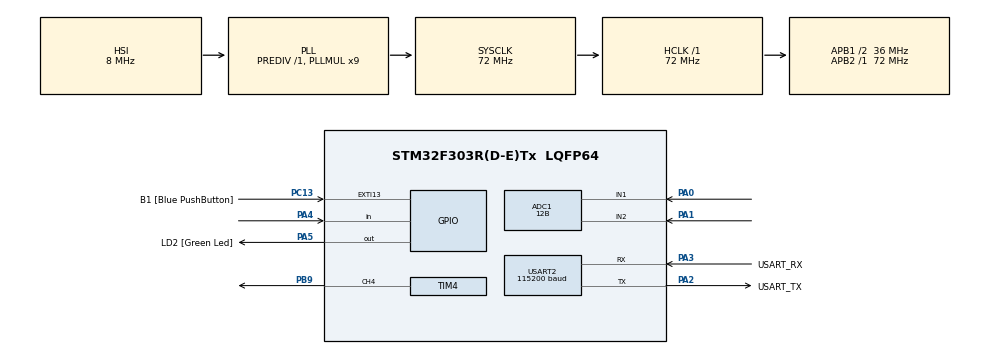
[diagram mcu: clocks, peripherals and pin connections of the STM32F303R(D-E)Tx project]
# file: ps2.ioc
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ADC1.Channel-0\#ChannelRegularConversion=ADC_CHANNEL_1
ADC1.Channel-1\#ChannelRegularConversion=ADC_CHANNEL_2
ADC1.ClockPrescaler=ADC_CLOCK_ASYNC_DIV1
ADC1.ContinuousConvMode=DISABLE
ADC1.DMAContinuousRequests=DISABLE
ADC1.DataAlign=ADC_DATAALIGN_RIGHT
ADC1.DiscontinuousConvMode=ENABLE
ADC1.EOCSelection=ADC_EOC_SINGLE_CONV
ADC1.EnableAnalogWatchDog1=false
ADC1.EnableAnalogWatchDog2=false
ADC1.EnableAnalogWatchDog3=false
ADC1.EnableInjectedConversion=ENABLE
ADC1.EnableRegularConversion=ENABLE
ADC1.ExternalTrigConv=ADC_SOFTWARE_START
ADC1.ExternalTrigConvEdge=ADC_EXTERNALTRIGCONVEDGE_NONE
ADC1.InjNumberOfConversion=0
ADC1.LowPowerAutoWait=DISABLE
ADC1.NbrOfConversion=2
ADC1.NbrOfConversionFlag=1
ADC1.NbrOfDiscConversion=1
ADC1.Offset-0\#ChannelRegularConversion=0
ADC1.Offset-1\#ChannelRegularConversion=0
ADC1.OffsetNumber-0\#ChannelRegularConversion=ADC_OFFSET_NONE
ADC1.OffsetNumber-1\#ChannelRegularConversion=ADC_OFFSET_NONE
ADC1.Overrun=ADC_OVR_DATA_OVERWRITTEN
ADC1.Rank-0\#ChannelRegularConversion=1
ADC1.Rank-1\#ChannelRegularConversion=2
ADC1.Resolution=ADC_RESOLUTION_12B
ADC1.SamplingTime-0\#ChannelRegularConversion=ADC_SAMPLETIME_19CYCLES_5
ADC1.SamplingTime-1\#ChannelRegularConversion=ADC_SAMPLETIME_19CYCLES_5
ADC1.ScanConvMode=ADC_SCAN_ENABLE
ADC1.master=1
Mcu.Family=STM32F3
Mcu.Name=STM32F303R(D-E)Tx
Mcu.Package=LQFP64
NVIC.PriorityGroup=NVIC_PRIORITYGROUP_0
PA0.Mode=IN1-Single-Ended
PA0.Signal=ADC1_IN1
PA1.Mode=IN2-Single-Ended
PA1.Signal=ADC1_IN2
PA13.GPIO_Label=TMS
PA13.Mode=Serial_Wire
PA13.Signal=SYS_JTMS-SWDIO
PA14.GPIO_Label=TCK
PA14.Mode=Serial_Wire
PA14.Signal=SYS_JTCK-SWCLK
PA2.GPIO_Label=USART_TX
PA2.GPIO_Mode=GPIO_MODE_AF_PP
PA2.GPIO_PuPd=GPIO_NOPULL
PA2.GPIO_Speed=GPIO_SPEED_FREQ_LOW
PA2.Mode=Asynchronous
PA2.Signal=USART2_TX
PA3.GPIO_Label=USART_RX
PA3.GPIO_Mode=GPIO_MODE_AF_PP
PA3.GPIO_PuPd=GPIO_NOPULL
PA3.GPIO_Speed=GPIO_SPEED_FREQ_LOW
PA3.Mode=Asynchronous
PA3.Signal=USART2_RX
PA4.GPIO_PuPd=GPIO_PULLUP
PA4.Signal=GPIO_Input
PA5.GPIO_Label=LD2 [Green Led]
PA5.GPIO_Mode=GPIO_MODE_OUTPUT_PP
PA5.GPIO_PuPd=GPIO_NOPULL
PA5.GPIO_Speed=GPIO_SPEED_FREQ_LOW
PA5.Signal=GPIO_Output
PB3.GPIO_Label=SWO
PB3.Signal=SYS_JTDO-TRACESWO
PB9.Signal=S_TIM4_CH4
PC13.GPIO_Label=B1 [Blue PushButton]
PC13.GPIO_ModeDefaultEXTI=GPIO_MODE_IT_FALLING
PC13.Signal=GPXTI13
PC14-OSC32_IN.Mode=LSE-External-Oscillator
PC14-OSC32_IN.Signal=RCC_OSC32_IN
PC15-OSC32_OUT.Mode=LSE-External-Oscillator
PC15-OSC32_OUT.Signal=RCC_OSC32_OUT
PF0-OSC_IN.Mode=HSE-External-Clock-Source
PF0-OSC_IN.Signal=RCC_OSC_IN
PF1-OSC_OUT.Signal=RCC_OSC_OUT
ProjectManager.HeapSize=0x200
ProjectManager.StackSize=0x400
ProjectManager.TargetToolchain=TrueSTUDIO
RCC.AHBFreq_Value=72000000
RCC.APB1CLKDivider=RCC_HCLK_DIV2
RCC.APB1Freq_Value=36000000
RCC.APB1TimFreq_Value=72000000
RCC.APB2Freq_Value=72000000
RCC.APB2TimFreq_Value=72000000
RCC.CortexFreq_Value=72000000
RCC.HCLKFreq_Value=72000000
RCC.HSE_VALUE=8000000
RCC.HSI_VALUE=8000000
RCC.PLLM=8
RCC.PLLMUL=RCC_PLL_MUL9
RCC.PLLN=336
RCC.PLLP=RCC_PLLP_DIV4
RCC.PLLQ=7
RCC.RCC_PLLsource_Clock_Source_FROM_HSE=RCC_HSE_PREDIV_DIV2
RCC.SYSCLKFreq_VALUE=72000000
RCC.SYSCLKSourceVirtual=RCC_SYSCLKSOURCE_PLLCLK
RCC.USBFreq_Value=72000000
SH.S_TIM4_CH4.0=TIM4_CH4,PWM Generation4 CH4
TIM4.Channel-PWM\ Generation4\ CH4=TIM_CHANNEL_4
TIM4.Period=19999
TIM4.Prescaler=71
TIM4.Pulse-PWM\ Generation4\ CH4=1500
USART2.BaudRate=115200
USART2.VirtualMode-Asynchronous=VM_ASYNC
USART2.WordLength=WORDLENGTH_8B
VP_TIM4_VS_ClockSourceINT.Mode=Internal
board=NUCLEO-F303RE

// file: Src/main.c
/**
  ******************************************************************************
  * @file           : main.c
  * @brief          : Main program body
  ******************************************************************************
  ** This notice applies to any and all portions of this file
  * that are not between comment pairs USER CODE BEGIN and
  * USER CODE END. Other portions of this file, whether
  * inserted by the user or by software development tools
  * are owned by their respective copyright owners.
  *
  * COPYRIGHT(c) 2026 STMicroelectronics
  *
  * Redistribution and use in source and binary forms, with or without modification,
  * are permitted provided that the following conditions are met:
  *   1. Redistributions of source code must retain the above copyright notice,
  *      this list of conditions and the following disclaimer.
  *   2. Redistributions in binary form must reproduce the above copyright notice,
  *      this list of conditions and the following disclaimer in the documentation
  *      and/or other materials provided with the distribution.
  *   3. Neither the name of STMicroelectronics nor the names of its contributors
  *      may be used to endorse or promote products derived from this software
  *      without specific prior written permission.
  *
  * THIS SOFTWARE IS PROVIDED BY THE COPYRIGHT HOLDERS AND CONTRIBUTORS "AS IS"
  * AND ANY EXPRESS OR IMPLIED WARRANTIES, INCLUDING, BUT NOT LIMITED TO, THE
  * IMPLIED WARRANTIES OF MERCHANTABILITY AND FITNESS FOR A PARTICULAR PURPOSE ARE
  * DISCLAIMED. IN NO EVENT SHALL THE COPYRIGHT HOLDER OR CONTRIBUTORS BE LIABLE
  * FOR ANY DIRECT, INDIRECT, INCIDENTAL, SPECIAL, EXEMPLARY, OR CONSEQUENTIAL
  * DAMAGES (INCLUDING, BUT NOT LIMITED TO, PROCUREMENT OF SUBSTITUTE GOODS OR
  * SERVICES; LOSS OF USE, DATA, OR PROFITS; OR BUSINESS INTERRUPTION) HOWEVER
  * CAUSED AND ON ANY THEORY OF LIABILITY, WHETHER IN CONTRACT, STRICT LIABILITY,
  * OR TORT (INCLUDING NEGLIGENCE OR OTHERWISE) ARISING IN ANY WAY OUT OF THE USE
  * OF THIS SOFTWARE, EVEN IF ADVISED OF THE POSSIBILITY OF SUCH DAMAGE.
  *
  ******************************************************************************
  */
#include "main.h"
#include "stm32f3xx_hal.h"
#include <stdio.h>
#include <string.h>
#include <stdlib.h>

ADC_HandleTypeDef hadc1;

TIM_HandleTypeDef htim4;

UART_HandleTypeDef huart2;

/* USER CODE BEGIN PV */
/* Private variables ---------------------------------------------------------*/
uint16_t adc_val[2]; // 儲存 X 與 Y 數值
char uart_buf[64];   // UART 輸出字串緩衝區
uint8_t  btn_z;
uint32_t servo_pulse;   // 存放計算後的 PWM 脈衝寬度
/* USER CODE END PV */

void SystemClock_Config(void);
static void MX_GPIO_Init(void);
static void MX_USART2_UART_Init(void);
static void MX_ADC1_Init(void);
static void MX_TIM4_Init(void);

void HAL_TIM_MspPostInit(TIM_HandleTypeDef *htim);

/* USER CODE BEGIN PFP */
/* Private function prototypes -----------------------------------------------*/

/* USER CODE END PFP */

int main(void)
{

  /* MCU Configuration----------------------------------------------------------*/

  /* Reset of all peripherals, Initializes the Flash interface and the Systick. */
  HAL_Init();

  /* Configure the system clock */
  SystemClock_Config();

  /* Initialize all configured peripherals */
  MX_GPIO_Init();
  MX_USART2_UART_Init();
  MX_ADC1_Init();
  MX_TIM4_Init();
  /* USER CODE BEGIN 2 */
  HAL_ADCEx_Calibration_Start(&hadc1, ADC_SINGLE_ENDED);

  HAL_TIM_PWM_Start(&htim4, TIM_CHANNEL_4); // 改為啟動 TIM4
  uint32_t servo_pulse;
  /* USER CODE END 2 */

  /* Infinite loop */
  while (1)
  {

  /* USER CODE BEGIN 3 */
	  // --- 讀取第一通道 (Rank 1: VRX) ---
	      HAL_ADC_Start(&hadc1);
	      HAL_ADC_PollForConversion(&hadc1, 10);
	      adc_val[0] = HAL_ADC_GetValue(&hadc1); // X 軸數值

	      // --- 讀取第二通道 (Rank 2: VRY) ---
	      HAL_ADC_Start(&hadc1);
	      HAL_ADC_PollForConversion(&hadc1, 10);
	      adc_val[1] = HAL_ADC_GetValue(&hadc1); // Y 軸數值

	      HAL_ADC_Stop(&hadc1);

	      // --- 讀取 Z 軸按鍵 (PA4) ---
	      btn_z = HAL_GPIO_ReadPin(GPIOA, GPIO_PIN_4);

	      // --- 伺服馬達控制 (使用 X 軸 adc_val[0]) ---
	      // 公式：500 (0.5ms) 為 0 度，2500 (2.5ms) 為 180 度
	      // 映射範圍：0~4095 -> 500~2500
	      int32_t offset_x = (int32_t)adc_val[0] - 2048; // 範圍約 -2048 ~ 2047
	      int32_t offset_y = (int32_t)adc_val[1] - 2048;

	      // 取絕對值較大者作為控制量
	      int32_t max_offset = 0;

	      if (abs(offset_x) > abs(offset_y)) {
	           max_offset = offset_x;
	       } else {
	           max_offset = offset_y;
	       }
	      if (abs(max_offset) < 50) max_offset = 0; // 忽略微小偏移
	      servo_pulse = 1500 + (max_offset * 1000 / 2048);

//	      uint32_t servo_pulse = 500 + ((uint32_t)adc_val[0] * 2000 / 4095);

	      // 更新 PWM 輸出至 PB8 (TIM4 Channel 3)
	      __HAL_TIM_SET_COMPARE(&htim4, TIM_CHANNEL_4, servo_pulse);

	      // --- 格式化字串並透過 UART 輸出 ---
	      // 加入 PWM 數值方便除錯
	      sprintf(uart_buf, "X: %4d | Y: %4d | Z: %d | PWM: %ld\r\n",
	              adc_val[0], adc_val[1], btn_z, servo_pulse);
	      HAL_UART_Transmit(&huart2, (uint8_t*)uart_buf, strlen(uart_buf), 100);

	      // --- 延遲 ---
	      // 建議 20ms 以符合伺服馬達 50Hz 更新率，若 UART 輸出太頻繁可調高
	      HAL_Delay(20);
  }
  /* USER CODE END 3 */

}

void SystemClock_Config(void)
{

  RCC_OscInitTypeDef RCC_OscInitStruct;
  RCC_ClkInitTypeDef RCC_ClkInitStruct;
  RCC_PeriphCLKInitTypeDef PeriphClkInit;

    /**Initializes the CPU, AHB and APB busses clocks
    */
  RCC_OscInitStruct.OscillatorType = RCC_OSCILLATORTYPE_HSI;
  RCC_OscInitStruct.HSIState = RCC_HSI_ON;
  RCC_OscInitStruct.HSICalibrationValue = 16;
  RCC_OscInitStruct.PLL.PLLState = RCC_PLL_ON;
  RCC_OscInitStruct.PLL.PLLSource = RCC_PLLSOURCE_HSI;
  RCC_OscInitStruct.PLL.PLLMUL = RCC_PLL_MUL9;
  RCC_OscInitStruct.PLL.PREDIV = RCC_PREDIV_DIV1;
  if (HAL_RCC_OscConfig(&RCC_OscInitStruct) != HAL_OK)
  {
    _Error_Handler(__FILE__, __LINE__);
  }

    /**Initializes the CPU, AHB and APB busses clocks
    */
  RCC_ClkInitStruct.ClockType = RCC_CLOCKTYPE_HCLK|RCC_CLOCKTYPE_SYSCLK
                              |RCC_CLOCKTYPE_PCLK1|RCC_CLOCKTYPE_PCLK2;
  RCC_ClkInitStruct.SYSCLKSource = RCC_SYSCLKSOURCE_PLLCLK;
  RCC_ClkInitStruct.AHBCLKDivider = RCC_SYSCLK_DIV1;
  RCC_ClkInitStruct.APB1CLKDivider = RCC_HCLK_DIV2;
  RCC_ClkInitStruct.APB2CLKDivider = RCC_HCLK_DIV1;

  if (HAL_RCC_ClockConfig(&RCC_ClkInitStruct, FLASH_LATENCY_2) != HAL_OK)
  {
    _Error_Handler(__FILE__, __LINE__);
  }

  PeriphClkInit.PeriphClockSelection = RCC_PERIPHCLK_USART2|RCC_PERIPHCLK_ADC12
                              |RCC_PERIPHCLK_TIM34;
  PeriphClkInit.Usart2ClockSelection = RCC_USART2CLKSOURCE_PCLK1;
  PeriphClkInit.Adc12ClockSelection = RCC_ADC12PLLCLK_DIV1;
  PeriphClkInit.Tim34ClockSelection = RCC_TIM34CLK_HCLK;
  if (HAL_RCCEx_PeriphCLKConfig(&PeriphClkInit) != HAL_OK)
  {
    _Error_Handler(__FILE__, __LINE__);
  }

    /**Configure the Systick interrupt time
    */
  HAL_SYSTICK_Config(HAL_RCC_GetHCLKFreq()/1000);

    /**Configure the Systick
    */
  HAL_SYSTICK_CLKSourceConfig(SYSTICK_CLKSOURCE_HCLK);

  /* SysTick_IRQn interrupt configuration */
  HAL_NVIC_SetPriority(SysTick_IRQn, 0, 0);
}

/* ADC1 init function */
static void MX_ADC1_Init(void)
{

  ADC_MultiModeTypeDef multimode;
  ADC_ChannelConfTypeDef sConfig;

    /**Common config
    */
  hadc1.Instance = ADC1;
  hadc1.Init.ClockPrescaler = ADC_CLOCK_ASYNC_DIV1;
  hadc1.Init.Resolution = ADC_RESOLUTION_12B;
  hadc1.Init.ScanConvMode = ADC_SCAN_ENABLE;
  hadc1.Init.ContinuousConvMode = DISABLE;
  hadc1.Init.DiscontinuousConvMode = ENABLE;
  hadc1.Init.NbrOfDiscConversion = 1;
  hadc1.Init.ExternalTrigConvEdge = ADC_EXTERNALTRIGCONVEDGE_NONE;
  hadc1.Init.ExternalTrigConv = ADC_SOFTWARE_START;
  hadc1.Init.DataAlign = ADC_DATAALIGN_RIGHT;
  hadc1.Init.NbrOfConversion = 2;
  hadc1.Init.DMAContinuousRequests = DISABLE;
  hadc1.Init.EOCSelection = ADC_EOC_SINGLE_CONV;
  hadc1.Init.LowPowerAutoWait = DISABLE;
  hadc1.Init.Overrun = ADC_OVR_DATA_OVERWRITTEN;
  if (HAL_ADC_Init(&hadc1) != HAL_OK)
  {
    _Error_Handler(__FILE__, __LINE__);
  }

    /**Configure the ADC multi-mode
    */
  multimode.Mode = ADC_MODE_INDEPENDENT;
  if (HAL_ADCEx_MultiModeConfigChannel(&hadc1, &multimode) != HAL_OK)
  {
    _Error_Handler(__FILE__, __LINE__);
  }

    /**Configure Regular Channel
    */
  sConfig.Channel = ADC_CHANNEL_1;
  sConfig.Rank = ADC_REGULAR_RANK_1;
  sConfig.SingleDiff = ADC_SINGLE_ENDED;
  sConfig.SamplingTime = ADC_SAMPLETIME_19CYCLES_5;
  sConfig.OffsetNumber = ADC_OFFSET_NONE;
  sConfig.Offset = 0;
  if (HAL_ADC_ConfigChannel(&hadc1, &sConfig) != HAL_OK)
  {
    _Error_Handler(__FILE__, __LINE__);
  }

    /**Configure Regular Channel
    */
  sConfig.Channel = ADC_CHANNEL_2;
  sConfig.Rank = ADC_REGULAR_RANK_2;
  if (HAL_ADC_ConfigChannel(&hadc1, &sConfig) != HAL_OK)
  {
    _Error_Handler(__FILE__, __LINE__);
  }

}

/* TIM4 init function */
static void MX_TIM4_Init(void)
{

  TIM_ClockConfigTypeDef sClockSourceConfig;
  TIM_MasterConfigTypeDef sMasterConfig;
  TIM_OC_InitTypeDef sConfigOC;

  htim4.Instance = TIM4;
  htim4.Init.Prescaler = 71;
  htim4.Init.CounterMode = TIM_COUNTERMODE_UP;
  htim4.Init.Period = 19999;
  htim4.Init.ClockDivision = TIM_CLOCKDIVISION_DIV1;
  htim4.Init.AutoReloadPreload = TIM_AUTORELOAD_PRELOAD_DISABLE;
  if (HAL_TIM_Base_Init(&htim4) != HAL_OK)
  {
    _Error_Handler(__FILE__, __LINE__);
  }

  sClockSourceConfig.ClockSource = TIM_CLOCKSOURCE_INTERNAL;
  if (HAL_TIM_ConfigClockSource(&htim4, &sClockSourceConfig) != HAL_OK)
  {
    _Error_Handler(__FILE__, __LINE__);
  }

  if (HAL_TIM_PWM_Init(&htim4) != HAL_OK)
  {
    _Error_Handler(__FILE__, __LINE__);
  }

  sMasterConfig.MasterOutputTrigger = TIM_TRGO_RESET;
  sMasterConfig.MasterSlaveMode = TIM_MASTERSLAVEMODE_DISABLE;
  if (HAL_TIMEx_MasterConfigSynchronization(&htim4, &sMasterConfig) != HAL_OK)
  {
    _Error_Handler(__FILE__, __LINE__);
  }

  sConfigOC.OCMode = TIM_OCMODE_PWM1;
  sConfigOC.Pulse = 1500;
  sConfigOC.OCPolarity = TIM_OCPOLARITY_HIGH;
  sConfigOC.OCFastMode = TIM_OCFAST_DISABLE;
  if (HAL_TIM_PWM_ConfigChannel(&htim4, &sConfigOC, TIM_CHANNEL_4) != HAL_OK)
  {
    _Error_Handler(__FILE__, __LINE__);
  }

  HAL_TIM_MspPostInit(&htim4);

}

/* USART2 init function */
static void MX_USART2_UART_Init(void)
{

  huart2.Instance = USART2;
  huart2.Init.BaudRate = 115200;
  huart2.Init.WordLength = UART_WORDLENGTH_8B;
  huart2.Init.StopBits = UART_STOPBITS_1;
  huart2.Init.Parity = UART_PARITY_NONE;
  huart2.Init.Mode = UART_MODE_TX_RX;
  huart2.Init.HwFlowCtl = UART_HWCONTROL_NONE;
  huart2.Init.OverSampling = UART_OVERSAMPLING_16;
  huart2.Init.OneBitSampling = UART_ONE_BIT_SAMPLE_DISABLE;
  huart2.AdvancedInit.AdvFeatureInit = UART_ADVFEATURE_NO_INIT;
  if (HAL_UART_Init(&huart2) != HAL_OK)
  {
    _Error_Handler(__FILE__, __LINE__);
  }

}

/** Configure pins as
        * Analog
        * Input
        * Output
        * EVENT_OUT
        * EXTI
*/
static void MX_GPIO_Init(void)
{

  GPIO_InitTypeDef GPIO_InitStruct;

  /* GPIO Ports Clock Enable */
  __HAL_RCC_GPIOC_CLK_ENABLE();
  __HAL_RCC_GPIOF_CLK_ENABLE();
  __HAL_RCC_GPIOA_CLK_ENABLE();
  __HAL_RCC_GPIOB_CLK_ENABLE();

  /*Configure GPIO pin Output Level */
  HAL_GPIO_WritePin(LD2_GPIO_Port, LD2_Pin, GPIO_PIN_RESET);

  /*Configure GPIO pin : B1_Pin */
  GPIO_InitStruct.Pin = B1_Pin;
  GPIO_InitStruct.Mode = GPIO_MODE_IT_FALLING;
  GPIO_InitStruct.Pull = GPIO_NOPULL;
  HAL_GPIO_Init(B1_GPIO_Port, &GPIO_InitStruct);

  /*Configure GPIO pin : PA4 */
  GPIO_InitStruct.Pin = GPIO_PIN_4;
  GPIO_InitStruct.Mode = GPIO_MODE_INPUT;
  GPIO_InitStruct.Pull = GPIO_PULLUP;
  HAL_GPIO_Init(GPIOA, &GPIO_InitStruct);

  /*Configure GPIO pin : LD2_Pin */
  GPIO_InitStruct.Pin = LD2_Pin;
  GPIO_InitStruct.Mode = GPIO_MODE_OUTPUT_PP;
  GPIO_InitStruct.Pull = GPIO_NOPULL;
  GPIO_InitStruct.Speed = GPIO_SPEED_FREQ_LOW;
  HAL_GPIO_Init(LD2_GPIO_Port, &GPIO_InitStruct);

}

void _Error_Handler(char *file, int line)
{
  while(1)
  {
  }
}

/************************ (C) COPYRIGHT STMicroelectronics *****END OF FILE****/
